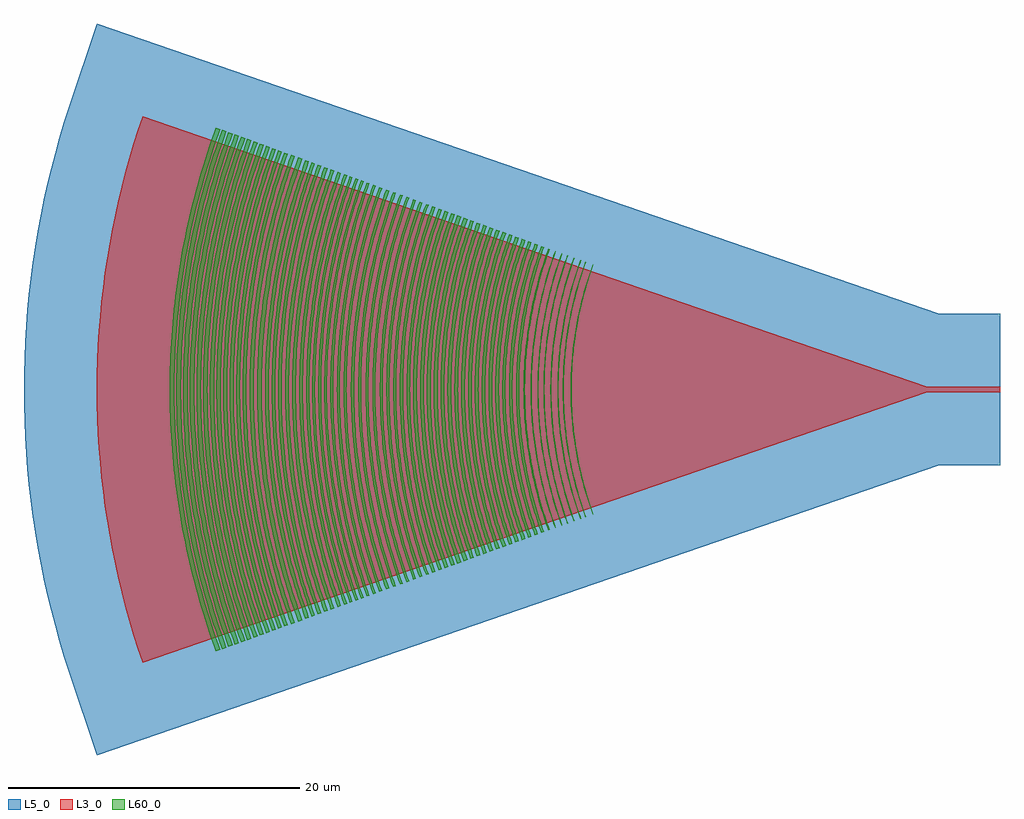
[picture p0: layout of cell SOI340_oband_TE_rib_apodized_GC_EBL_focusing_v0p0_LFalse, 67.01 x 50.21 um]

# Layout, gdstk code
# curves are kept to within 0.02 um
import gdstk
lib = gdstk.Library(unit=1e-6, precision=1e-09)
def P(c, l, *ps):  # polygons
    for p in ps: c.add(gdstk.Polygon(p, *l))
L3_0 = (3, 0)
L5_0 = (5, 0)
L60_0 = (60, 0)

soi340_oband_te_rib_apod = lib.new_cell('SOI340_oband_TE_rib_apodized_GC_EBL_focusing_v0p0_LFalse')
P(soi340_oband_te_rib_apod, L3_0, [(-58.872,-18.75),(-59.494,-16.838),(-60.048,-14.906),(-60.534,-12.955),(-61.135,-10.001),(-61.45,-8.015),(-61.791,-5.019),(-61.975,-2.01),(-62.01,0),(-61.975,2.01),(-61.791,5.019),(-61.45,8.015),(-61.135,10.001),(-60.534,12.955),(-60.048,14.906),(-59.494,16.838),(-58.872,18.75),(-5,0.2),(0,0.2),(0,-0.2),(-5,-0.2)])
P(soi340_oband_te_rib_apod, L5_0, [(-61.972,-25.105),(-62.026,-25.079),(-64.276,-18.3),(-65.151,-15.142),(-65.86,-11.944),(-66.401,-8.712),(-66.668,-6.542),(-66.924,-3.275),(-67.01,0),(-66.924,3.275),(-66.668,6.542),(-66.401,8.712),(-65.86,11.944),(-65.151,15.142),(-64.585,17.252),(-63.946,19.344),(-62.026,25.079),(-61.972,25.105),(-4.163,5.2),(0,5.2),(0,-5.2),(-4.163,-5.2)])
P(soi340_oband_te_rib_apod, L60_0, [(-27.967,-8.571),(-28.114,-8.159),(-28.319,-7.536),(-28.509,-6.908),(-28.625,-6.486),(-28.885,-5.424),(-29.019,-4.781),(-29.098,-4.351),(-29.203,-3.704),(-29.293,-3.054),(-29.384,-2.184),(-29.455,-1.093),(-29.479,0),(-29.455,1.093),(-29.384,2.184),(-29.293,3.054),(-29.203,3.704),(-29.098,4.351),(-29.019,4.781),(-28.885,5.424),(-28.625,6.486),(-28.509,6.908),(-28.319,7.536),(-28.114,8.159),(-27.967,8.571),(-27.911,8.551),(-28.127,7.933),(-28.327,7.309),(-28.51,6.681),(-28.676,6.048),(-28.873,5.198),(-29.076,4.126),(-29.233,3.047),(-29.324,2.179),(-29.395,1.09),(-29.419,0),(-29.395,-1.09),(-29.324,-2.179),(-29.233,-3.047),(-29.076,-4.126),(-28.873,-5.198),(-28.676,-6.048),(-28.51,-6.681),(-28.327,-7.309),(-28.127,-7.933),(-27.911,-8.551)],
  [(-28.475,-8.755),(-28.624,-8.335),(-28.833,-7.698),(-29.027,-7.057),(-29.146,-6.626),(-29.412,-5.541),(-29.629,-4.445),(-29.799,-3.342),(-29.854,-2.898),(-29.921,-2.231),(-29.994,-1.117),(-30.018,0),(-29.994,1.117),(-29.921,2.231),(-29.854,2.898),(-29.799,3.342),(-29.629,4.445),(-29.412,5.541),(-29.146,6.626),(-29.027,7.057),(-28.833,7.698),(-28.624,8.335),(-28.475,8.755),(-28.418,8.735),(-28.638,8.104),(-28.842,7.467),(-29.029,6.825),(-29.199,6.178),(-29.4,5.31),(-29.608,4.215),(-29.74,3.334),(-29.861,2.226),(-29.934,1.114),(-29.958,0),(-29.934,-1.114),(-29.861,-2.226),(-29.74,-3.334),(-29.608,-4.215),(-29.4,-5.31),(-29.199,-6.178),(-29.029,-6.825),(-28.842,-7.467),(-28.638,-8.104),(-28.418,-8.735)],
  [(-28.815,-8.879),(-29.039,-8.238),(-29.178,-7.807),(-29.375,-7.156),(-29.495,-6.72),(-29.765,-5.619),(-29.986,-4.508),(-30.094,-3.837),(-30.187,-3.164),(-30.281,-2.262),(-30.332,-1.585),(-30.355,-1.133),(-30.371,-0.68),(-30.38,0),(-30.371,0.68),(-30.355,1.133),(-30.332,1.585),(-30.281,2.262),(-30.187,3.164),(-30.094,3.837),(-29.986,4.508),(-29.765,5.619),(-29.495,6.72),(-29.375,7.156),(-29.178,7.807),(-29.039,8.238),(-28.815,8.879),(-28.758,8.859),(-28.982,8.219),(-29.188,7.573),(-29.378,6.922),(-29.551,6.266),(-29.8,5.164),(-29.965,4.275),(-30.127,3.157),(-30.201,2.483),(-30.24,2.032),(-30.285,1.356),(-30.304,0.904),(-30.32,0),(-30.304,-0.904),(-30.285,-1.356),(-30.24,-2.032),(-30.201,-2.483),(-30.127,-3.157),(-29.965,-4.275),(-29.8,-5.164),(-29.551,-6.266),(-29.378,-6.922),(-29.188,-7.573),(-28.982,-8.219),(-28.758,-8.859)],
  [(-29.268,-9.044),(-29.423,-8.61),(-29.639,-7.952),(-29.839,-7.289),(-29.962,-6.845),(-30.237,-5.724),(-30.461,-4.592),(-30.572,-3.909),(-30.636,-3.452),(-30.693,-2.994),(-30.763,-2.305),(-30.814,-1.615),(-30.838,-1.154),(-30.854,-0.693),(-30.863,0),(-30.854,0.693),(-30.838,1.154),(-30.814,1.615),(-30.763,2.305),(-30.693,2.994),(-30.636,3.452),(-30.572,3.909),(-30.461,4.592),(-30.237,5.724),(-29.962,6.845),(-29.839,7.289),(-29.639,7.952),(-29.423,8.61),(-29.268,9.044),(-29.212,9.024),(-29.44,8.372),(-29.65,7.714),(-29.843,7.051),(-30.019,6.383),(-30.226,5.486),(-30.361,4.808),(-30.441,4.355),(-30.577,3.444),(-30.703,2.3),(-30.754,1.611),(-30.778,1.151),(-30.794,0.691),(-30.803,0),(-30.794,-0.691),(-30.778,-1.151),(-30.754,-1.611),(-30.703,-2.3),(-30.577,-3.444),(-30.441,-4.355),(-30.361,-4.808),(-30.226,-5.486),(-30.019,-6.383),(-29.843,-7.051),(-29.65,-7.714),(-29.44,-8.372),(-29.212,-9.024)],
  [(-29.713,-9.206),(-29.871,-8.764),(-30.091,-8.094),(-30.295,-7.42),(-30.42,-6.967),(-30.699,-5.826),(-30.843,-5.136),(-30.928,-4.675),(-31.041,-3.979),(-31.137,-3.28),(-31.235,-2.346),(-31.272,-1.878),(-31.311,-1.175),(-31.328,-0.705),(-31.337,0),(-31.328,0.705),(-31.311,1.175),(-31.272,1.878),(-31.235,2.346),(-31.137,3.28),(-31.041,3.979),(-30.928,4.675),(-30.843,5.136),(-30.699,5.826),(-30.42,6.967),(-30.295,7.42),(-30.091,8.094),(-29.871,8.764),(-29.713,9.206),(-29.657,9.186),(-29.889,8.522),(-30.103,7.853),(-30.3,7.177),(-30.479,6.498),(-30.589,6.042),(-30.738,5.355),(-30.909,4.433),(-31.016,3.738),(-31.077,3.273),(-31.175,2.341),(-31.212,1.874),(-31.251,1.172),(-31.268,0.703),(-31.277,0),(-31.268,-0.703),(-31.251,-1.172),(-31.212,-1.874),(-31.175,-2.341),(-31.077,-3.273),(-31.016,-3.738),(-30.909,-4.433),(-30.738,-5.355),(-30.589,-6.042),(-30.479,-6.498),(-30.3,-7.177),(-30.103,-7.853),(-29.889,-8.522),(-29.657,-9.186)],
  [(-30.101,-9.347),(-30.261,-8.899),(-30.485,-8.219),(-30.692,-7.534),(-30.819,-7.073),(-31.103,-5.916),(-31.202,-5.449),(-31.335,-4.746),(-31.516,-3.568),(-31.601,-2.857),(-31.646,-2.382),(-31.684,-1.906),(-31.724,-1.193),(-31.741,-0.716),(-31.75,0),(-31.741,0.716),(-31.724,1.193),(-31.684,1.906),(-31.646,2.382),(-31.601,2.857),(-31.516,3.568),(-31.335,4.746),(-31.202,5.449),(-31.103,5.916),(-30.819,7.073),(-30.692,7.534),(-30.485,8.219),(-30.261,8.899),(-30.101,9.347),(-30.045,9.327),(-30.281,8.653),(-30.498,7.973),(-30.698,7.288),(-30.88,6.597),(-31.044,5.903),(-31.143,5.437),(-31.316,4.501),(-31.425,3.795),(-31.487,3.323),(-31.541,2.851),(-31.606,2.14),(-31.664,1.19),(-31.681,0.714),(-31.69,0),(-31.681,-0.714),(-31.664,-1.19),(-31.606,-2.14),(-31.541,-2.851),(-31.487,-3.323),(-31.425,-3.795),(-31.316,-4.501),(-31.143,-5.437),(-31.044,-5.903),(-30.88,-6.597),(-30.698,-7.288),(-30.498,-7.973),(-30.281,-8.653),(-30.045,-9.327)],
  [(-30.543,-9.508),(-30.706,-9.051),(-30.933,-8.36),(-31.076,-7.896),(-31.273,-7.196),(-31.452,-6.49),(-31.561,-6.017),(-31.662,-5.543),(-31.798,-4.828),(-31.982,-3.629),(-32.042,-3.147),(-32.114,-2.423),(-32.168,-1.698),(-32.194,-1.213),(-32.216,-0.485),(-32.22,0),(-32.216,0.485),(-32.194,1.213),(-32.168,1.698),(-32.114,2.423),(-32.042,3.147),(-31.982,3.629),(-31.798,4.828),(-31.662,5.543),(-31.561,6.017),(-31.452,6.49),(-31.273,7.196),(-31.076,7.896),(-30.933,8.36),(-30.706,9.051),(-30.543,9.508),(-30.487,9.488),(-30.649,9.032),(-30.948,8.111),(-31.151,7.413),(-31.336,6.711),(-31.554,5.768),(-31.78,4.579),(-31.923,3.621),(-31.982,3.14),(-32.054,2.418),(-32.108,1.694),(-32.134,1.21),(-32.156,0.484),(-32.16,0),(-32.156,-0.484),(-32.134,-1.21),(-32.074,-2.177),(-32.008,-2.9),(-31.953,-3.381),(-31.89,-3.861),(-31.78,-4.579),(-31.554,-5.768),(-31.336,-6.711),(-31.151,-7.413),(-30.948,-8.111),(-30.649,-9.032),(-30.487,-9.488)],
  [(-31.01,-9.677),(-31.406,-8.509),(-31.752,-7.323),(-32.046,-6.125),(-32.286,-4.914),(-32.474,-3.693),(-32.609,-2.466),(-32.689,-1.235),(-32.716,0),(-32.689,1.235),(-32.609,2.466),(-32.474,3.693),(-32.286,4.914),(-32.046,6.125),(-31.752,7.323),(-31.406,8.509),(-31.01,9.677),(-30.914,9.643),(-31.382,8.243),(-31.716,7.059),(-31.998,5.862),(-32.227,4.654),(-32.373,3.68),(-32.507,2.457),(-32.587,1.23),(-32.614,0),(-32.587,-1.23),(-32.507,-2.457),(-32.373,-3.68),(-32.227,-4.654),(-31.998,-5.862),(-31.716,-7.059),(-31.382,-8.243),(-30.914,-9.643)],
  [(-31.486,-9.851),(-31.89,-8.661),(-32.241,-7.455),(-32.54,-6.234),(-32.786,-5.002),(-32.976,-3.76),(-33.113,-2.511),(-33.196,-1.257),(-33.223,0),(-33.196,1.257),(-33.113,2.511),(-32.976,3.76),(-32.786,5.002),(-32.54,6.234),(-32.241,7.455),(-31.89,8.661),(-31.486,9.851),(-31.294,9.782),(-31.769,8.362),(-32.108,7.161),(-32.445,5.702),(-32.667,4.474),(-32.806,3.485),(-32.931,2.244),(-33.002,0.998),(-33.019,0),(-33.002,-0.998),(-32.931,-2.244),(-32.806,-3.485),(-32.667,-4.474),(-32.445,-5.702),(-32.108,-7.161),(-31.769,-8.362),(-31.294,-9.782)],
  [(-31.936,-10.013),(-32.346,-8.805),(-32.703,-7.579),(-33.007,-6.337),(-33.257,-5.085),(-33.45,-3.822),(-33.589,-2.552),(-33.673,-1.277),(-33.701,0),(-33.673,1.277),(-33.589,2.552),(-33.45,3.822),(-33.257,5.085),(-33.007,6.337),(-32.703,7.579),(-32.346,8.805),(-31.936,10.013),(-31.725,9.938),(-32.207,8.496),(-32.614,7.03),(-32.894,5.793),(-33.158,4.295),(-33.318,3.037),(-33.406,2.027),(-33.477,0),(-33.406,-2.027),(-33.318,-3.037),(-33.158,-4.295),(-32.894,-5.793),(-32.614,-7.03),(-32.207,-8.496),(-31.725,-9.938)],
  [(-32.374,-10.173),(-32.79,-8.946),(-33.153,-7.699),(-33.462,-6.438),(-33.715,-5.165),(-33.912,-3.883),(-34.054,-2.592),(-34.139,-1.297),(-34.167,0),(-34.139,1.297),(-34.054,2.592),(-33.912,3.883),(-33.715,5.165),(-33.462,6.438),(-33.153,7.699),(-32.79,8.946),(-32.374,10.173),(-32.177,10.103),(-32.667,8.636),(-33.081,7.146),(-33.365,5.889),(-33.634,4.366),(-33.867,2.318),(-33.93,1.288),(-33.958,0),(-33.93,-1.288),(-33.867,-2.318),(-33.634,-4.366),(-33.365,-5.889),(-33.081,-7.146),(-32.667,-8.636),(-32.177,-10.103)],
  [(-32.827,-10.338),(-33.25,-9.09),(-33.619,-7.824),(-33.989,-6.286),(-34.19,-5.249),(-34.39,-3.946),(-34.534,-2.635),(-34.62,-1.319),(-34.649,0),(-34.62,1.319),(-34.534,2.635),(-34.39,3.946),(-34.19,5.249),(-33.989,6.286),(-33.619,7.824),(-33.25,9.09),(-32.827,10.338),(-32.593,10.254),(-33.091,8.766),(-33.446,7.507),(-33.799,5.977),(-34.072,4.432),(-34.309,2.352),(-34.383,1.046),(-34.401,0),(-34.383,-1.046),(-34.309,-2.352),(-34.072,-4.432),(-33.799,-5.977),(-33.446,-7.507),(-33.091,-8.766),(-32.593,-10.254)],
  [(-33.267,-10.498),(-33.697,-9.232),(-34.072,-7.945),(-34.39,-6.644),(-34.651,-5.331),(-34.856,-4.007),(-35.001,-2.675),(-35.089,-1.339),(-35.118,0),(-35.089,1.339),(-35.001,2.675),(-34.856,4.007),(-34.651,5.331),(-34.39,6.644),(-34.072,7.945),(-33.697,9.232),(-33.267,10.498),(-33.027,10.412),(-33.533,8.901),(-33.959,7.365),(-34.304,5.809),(-34.529,4.5),(-34.696,3.182),(-34.789,2.124),(-34.863,0),(-34.789,-2.124),(-34.696,-3.182),(-34.529,-4.5),(-34.304,-5.809),(-33.959,-7.365),(-33.533,-8.901),(-33.027,-10.412)],
  [(-33.698,-10.657),(-34.135,-9.369),(-34.515,-8.064),(-34.838,-6.744),(-35.103,-5.411),(-35.31,-4.068),(-35.458,-2.716),(-35.548,-1.359),(-35.577,0),(-35.548,1.359),(-35.458,2.716),(-35.31,4.068),(-35.103,5.411),(-34.838,6.744),(-34.515,8.064),(-34.135,9.369),(-33.698,10.657),(-33.472,10.575),(-33.986,9.04),(-34.352,7.741),(-34.716,6.164),(-34.956,4.837),(-35.107,3.768),(-35.242,2.426),(-35.308,1.349),(-35.337,0),(-35.308,-1.349),(-35.242,-2.426),(-35.107,-3.768),(-34.956,-4.837),(-34.716,-6.164),(-34.352,-7.741),(-33.986,-9.04),(-33.472,-10.575)],
  [(-34.149,-10.82),(-34.592,-9.514),(-34.979,-8.189),(-35.307,-6.847),(-35.624,-5.222),(-35.821,-3.856),(-35.937,-2.758),(-36.027,-1.38),(-36.057,0),(-36.027,1.38),(-35.937,2.758),(-35.821,3.856),(-35.624,5.222),(-35.307,6.847),(-34.979,8.189),(-34.592,9.514),(-34.149,10.82),(-33.913,10.735),(-34.435,9.177),(-34.806,7.859),(-35.176,6.258),(-35.42,4.91),(-35.572,3.825),(-35.709,2.463),(-35.787,1.095),(-35.806,0),(-35.787,-1.095),(-35.709,-2.463),(-35.572,-3.825),(-35.42,-4.91),(-35.176,-6.258),(-34.806,-7.859),(-34.435,-9.177),(-33.913,-10.735)],
  [(-34.582,-10.977),(-35.032,-9.652),(-35.424,-8.307),(-35.756,-6.947),(-36.029,-5.573),(-36.242,-4.19),(-36.395,-2.797),(-36.487,-1.4),(-36.517,0),(-36.487,1.4),(-36.395,2.797),(-36.242,4.19),(-36.029,5.573),(-35.756,6.947),(-35.424,8.307),(-35.032,9.652),(-34.582,10.977),(-34.352,10.895),(-34.799,9.579),(-35.258,7.976),(-35.634,6.351),(-35.881,4.983),(-36.036,3.882),(-36.175,2.499),(-36.254,1.112),(-36.273,0),(-36.254,-1.112),(-36.175,-2.499),(-36.036,-3.882),(-35.881,-4.983),(-35.634,-6.351),(-35.258,-7.976),(-34.799,-9.579),(-34.352,-10.895)],
  [(-35.033,-11.141),(-35.489,-9.796),(-35.887,-8.432),(-36.225,-7.051),(-36.502,-5.657),(-36.719,-4.252),(-36.873,-2.84),(-36.966,-1.421),(-36.997,0),(-36.966,1.421),(-36.873,2.84),(-36.719,4.252),(-36.502,5.657),(-36.225,7.051),(-35.887,8.432),(-35.489,9.796),(-35.033,11.141),(-34.788,11.053),(-35.325,9.449),(-35.708,8.092),(-36.088,6.443),(-36.382,4.777),(-36.56,3.378),(-36.658,2.254),(-36.737,0),(-36.658,-2.254),(-36.56,-3.378),(-36.382,-4.777),(-36.088,-6.443),(-35.708,-8.092),(-35.325,-9.449),(-34.788,-11.053)],
  [(-35.465,-11.299),(-35.928,-9.934),(-36.332,-8.551),(-36.674,-7.151),(-36.955,-5.737),(-37.174,-4.312),(-37.331,-2.879),(-37.426,-1.441),(-37.457,0),(-37.426,1.441),(-37.331,2.879),(-37.174,4.312),(-36.955,5.737),(-36.674,7.151),(-36.332,8.551),(-35.928,9.934),(-35.465,11.299),(-35.235,11.216),(-35.78,9.588),(-36.239,7.934),(-36.555,6.538),(-36.853,4.847),(-37.112,2.573),(-37.182,1.43),(-37.213,0),(-37.182,-1.43),(-37.112,-2.573),(-36.853,-4.847),(-36.555,-6.538),(-36.239,-7.934),(-35.78,-9.588),(-35.235,-11.216)],
  [(-35.916,-11.463),(-36.386,-10.079),(-36.795,-8.676),(-37.143,-7.254),(-37.428,-5.82),(-37.65,-4.375),(-37.809,-2.921),(-37.905,-1.463),(-37.937,0),(-37.905,1.463),(-37.809,2.921),(-37.65,4.375),(-37.428,5.82),(-37.143,7.254),(-36.795,8.676),(-36.386,10.079),(-35.916,11.463),(-35.671,11.375),(-36.138,10.001),(-36.618,8.327),(-36.95,6.915),(-37.268,5.203),(-37.463,3.765),(-37.574,2.609),(-37.657,1.161),(-37.677,0),(-37.657,-1.161),(-37.574,-2.609),(-37.463,-3.765),(-37.268,-5.203),(-36.95,-6.915),(-36.618,-8.327),(-36.138,-10.001),(-35.671,-11.375)],
  [(-36.357,-11.622),(-36.833,-10.22),(-37.248,-8.797),(-37.6,-7.356),(-37.89,-5.902),(-38.115,-4.436),(-38.277,-2.962),(-38.374,-1.482),(-38.406,0),(-38.374,1.482),(-38.277,2.962),(-38.115,4.436),(-37.89,5.902),(-37.6,7.356),(-37.248,8.797),(-36.833,10.22),(-36.357,11.622),(-36.118,11.537),(-36.591,10.144),(-37.078,8.446),(-37.475,6.725),(-37.737,5.277),(-37.901,4.111),(-38.048,2.647),(-38.12,1.471),(-38.152,0),(-38.12,-1.471),(-38.048,-2.647),(-37.901,-4.111),(-37.737,-5.277),(-37.475,-6.725),(-37.078,-8.446),(-36.591,-10.144),(-36.118,-11.537)],
  [(-36.81,-11.787),(-37.292,-10.366),(-37.714,-8.921),(-38.071,-7.461),(-38.364,-5.985),(-38.593,-4.499),(-38.757,-3.005),(-38.855,-1.504),(-38.888,0),(-38.855,1.504),(-38.757,3.005),(-38.593,4.499),(-38.364,5.985),(-38.071,7.461),(-37.714,8.921),(-37.292,10.366),(-36.81,11.787),(-36.555,11.696),(-37.123,9.999),(-37.528,8.562),(-37.87,7.11),(-38.196,5.35),(-38.362,4.168),(-38.512,2.683),(-38.596,1.193),(-38.617,0),(-38.596,-1.193),(-38.512,-2.683),(-38.362,-4.168),(-38.196,-5.35),(-37.87,-7.11),(-37.528,-8.562),(-37.123,-9.999),(-36.555,-11.696)],
  [(-37.251,-11.948),(-37.74,-10.506),(-38.167,-9.043),(-38.529,-7.562),(-38.826,-6.067),(-39.058,-4.56),(-39.224,-3.045),(-39.324,-1.524),(-39.357,0),(-39.324,1.524),(-39.224,3.045),(-39.058,4.56),(-38.826,6.067),(-38.529,7.562),(-38.167,9.043),(-37.74,10.506),(-37.251,11.948),(-37.002,11.859),(-37.578,10.138),(-37.989,8.682),(-38.397,6.913),(-38.666,5.424),(-38.835,4.226),(-38.986,2.72),(-39.072,1.21),(-39.093,0),(-39.072,-1.21),(-38.986,-2.72),(-38.835,-4.226),(-38.666,-5.424),(-38.397,-6.913),(-37.989,-8.682),(-37.578,-10.138),(-37.002,-11.859)],
  [(-37.683,-12.106),(-38.179,-10.645),(-38.611,-9.162),(-38.978,-7.662),(-39.279,-6.147),(-39.514,-4.621),(-39.682,-3.086),(-39.784,-1.544),(-39.817,0),(-39.784,1.544),(-39.682,3.086),(-39.514,4.621),(-39.279,6.147),(-38.978,7.662),(-38.611,9.162),(-38.179,10.645),(-37.683,12.106),(-37.44,12.019),(-38.024,10.274),(-38.44,8.798),(-38.854,7.006),(-39.173,5.194),(-39.333,3.978),(-39.451,2.757),(-39.526,1.533),(-39.559,0),(-39.526,-1.533),(-39.451,-2.757),(-39.333,-3.978),(-39.173,-5.194),(-38.854,-7.006),(-38.44,-8.798),(-38.024,-10.274),(-37.44,-12.019)],
  [(-38.136,-12.271),(-38.639,-10.79),(-39.077,-9.287),(-39.45,-7.766),(-39.755,-6.231),(-39.993,-4.684),(-40.163,-3.127),(-40.266,-1.565),(-40.3,0),(-40.266,1.565),(-40.163,3.127),(-39.993,4.684),(-39.755,6.231),(-39.45,7.766),(-39.077,9.287),(-38.639,10.79),(-38.136,12.271),(-37.889,12.182),(-38.481,10.414),(-38.979,8.617),(-39.383,6.796),(-39.646,5.265),(-39.808,4.032),(-39.927,2.795),(-40.003,1.554),(-40.037,0),(-40.003,-1.554),(-39.927,-2.795),(-39.808,-4.032),(-39.646,-5.265),(-39.383,-6.796),(-38.979,-8.617),(-38.481,-10.414),(-37.889,-12.182)],
  [(-38.545,-12.42),(-39.054,-10.92),(-39.496,-9.399),(-39.874,-7.86),(-40.183,-6.306),(-40.423,-4.74),(-40.596,-3.165),(-40.7,-1.584),(-40.734,0),(-40.7,1.584),(-40.596,3.165),(-40.423,4.74),(-40.183,6.306),(-39.874,7.86),(-39.496,9.399),(-39.054,10.92),(-38.545,12.42),(-38.333,12.344),(-38.839,10.852),(-39.359,9.036),(-39.72,7.504),(-40.065,5.646),(-40.277,4.086),(-40.398,2.832),(-40.475,1.574),(-40.509,0),(-40.475,-1.574),(-40.398,-2.832),(-40.277,-4.086),(-40.065,-5.646),(-39.72,-7.504),(-39.359,-9.036),(-38.839,-10.852),(-38.333,-12.344)],
  [(-38.99,-12.581),(-39.505,-11.063),(-39.955,-9.522),(-40.336,-7.963),(-40.649,-6.388),(-40.893,-4.802),(-41.068,-3.206),(-41.173,-1.605),(-41.208,0),(-41.173,1.605),(-41.068,3.206),(-40.893,4.802),(-40.649,6.388),(-40.336,7.963),(-39.955,9.522),(-39.505,11.063),(-38.99,12.581),(-38.783,12.507),(-39.39,10.692),(-39.823,9.156),(-40.254,7.291),(-40.538,5.721),(-40.753,4.14),(-40.875,2.869),(-40.966,1.276),(-40.988,0),(-40.966,-1.276),(-40.875,-2.869),(-40.753,-4.14),(-40.538,-5.721),(-40.254,-7.291),(-39.823,-9.156),(-39.39,-10.692),(-38.783,-12.507)],
  [(-39.405,-12.733),(-39.927,-11.196),(-40.382,-9.636),(-40.768,-8.058),(-41.084,-6.465),(-41.331,-4.86),(-41.508,-3.245),(-41.615,-1.624),(-41.65,0),(-41.615,1.624),(-41.508,3.245),(-41.331,4.86),(-41.084,6.465),(-40.768,8.058),(-40.382,9.636),(-39.927,11.196),(-39.405,12.733),(-39.234,12.672),(-39.849,10.832),(-40.288,9.276),(-40.724,7.386),(-41.012,5.796),(-41.192,4.515),(-41.354,2.907),(-41.433,1.616),(-41.468,0),(-41.433,-1.616),(-41.354,-2.907),(-41.23,-4.194),(-41.012,-5.796),(-40.724,-7.386),(-40.288,-9.276),(-39.849,-10.832),(-39.234,-12.672)],
  [(-39.852,-12.895),(-40.381,-11.339),(-40.841,-9.759),(-41.232,-8.161),(-41.553,-6.548),(-41.803,-4.922),(-41.982,-3.286),(-42.09,-1.645),(-42.126,0),(-42.09,1.645),(-41.982,3.286),(-41.803,4.922),(-41.553,6.548),(-41.232,8.161),(-40.841,9.759),(-40.381,11.339),(-39.852,12.895),(-39.665,12.828),(-40.191,11.279),(-40.732,9.391),(-41.174,7.478),(-41.465,5.868),(-41.686,4.246),(-41.811,2.943),(-41.904,1.309),(-41.927,0),(-41.904,-1.309),(-41.811,-2.943),(-41.686,-4.246),(-41.465,-5.868),(-41.174,-7.478),(-40.732,-9.391),(-40.191,-11.279),(-39.665,-12.828)],
  [(-40.273,-13.049),(-40.807,-11.474),(-41.273,-9.875),(-41.669,-8.258),(-41.993,-6.625),(-42.246,-4.98),(-42.427,-3.326),(-42.537,-1.664),(-42.573,0),(-42.537,1.664),(-42.427,3.326),(-42.246,4.98),(-41.993,6.625),(-41.669,8.258),(-41.273,9.875),(-40.807,11.474),(-40.273,13.049),(-40.105,12.989),(-40.637,11.42),(-41.101,9.829),(-41.495,8.22),(-41.874,6.268),(-42.112,4.628),(-42.278,2.98),(-42.372,1.325),(-42.395,0),(-42.372,-1.325),(-42.278,-2.98),(-42.112,-4.628),(-41.874,-6.268),(-41.495,-8.22),(-41.101,-9.829),(-40.637,-11.42),(-40.105,-12.989)],
  [(-40.748,-13.222),(-41.289,-11.625),(-41.762,-10.006),(-42.163,-8.368),(-42.492,-6.713),(-42.748,-5.045),(-42.932,-3.369),(-43.042,-1.686),(-43.079,0),(-43.042,1.686),(-42.932,3.369),(-42.748,5.045),(-42.492,6.713),(-42.163,8.368),(-41.762,10.006),(-41.289,11.625),(-40.748,13.222),(-40.57,13.158),(-41.209,11.248),(-41.665,9.632),(-42.118,7.67),(-42.416,6.018),(-42.643,4.355),(-42.771,3.018),(-42.867,1.343),(-42.89,0),(-42.867,-1.343),(-42.771,-3.018),(-42.643,-4.355),(-42.416,-6.018),(-42.118,-7.67),(-41.665,-9.632),(-41.209,-11.248),(-40.57,-13.158)],
  [(-41.193,-13.384),(-41.741,-11.767),(-42.22,-10.128),(-42.626,-8.47),(-42.958,-6.796),(-43.218,-5.108),(-43.404,-3.41),(-43.516,-1.707),(-43.553,0),(-43.516,1.707),(-43.404,3.41),(-43.218,5.108),(-42.958,6.796),(-42.626,8.47),(-42.22,10.128),(-41.741,11.767),(-41.193,13.384),(-41.016,13.32),(-41.663,11.387),(-42.124,9.751),(-42.514,8.097),(-42.886,6.092),(-43.115,4.409),(-43.245,3.056),(-43.328,1.699),(-43.365,0),(-43.328,-1.699),(-43.245,-3.056),(-43.115,-4.409),(-42.886,-6.092),(-42.514,-8.097),(-42.124,-9.751),(-41.663,-11.387),(-41.016,-13.32)],
  [(-41.664,-13.555),(-42.219,-11.918),(-42.704,-10.258),(-43.115,-8.578),(-43.452,-6.883),(-43.715,-5.173),(-43.903,-3.454),(-44.016,-1.729),(-44.054,0),(-44.016,1.729),(-43.903,3.454),(-43.715,5.173),(-43.452,6.883),(-43.115,8.578),(-42.704,10.258),(-42.219,11.918),(-41.664,13.555),(-41.488,13.492),(-42.041,11.862),(-42.523,10.21),(-43.005,8.202),(-43.326,6.511),(-43.53,5.149),(-43.717,3.438),(-43.829,1.721),(-43.867,0),(-43.829,-1.721),(-43.717,-3.438),(-43.53,-5.149),(-43.326,-6.511),(-43.005,-8.202),(-42.523,-10.21),(-42.041,-11.862),(-41.488,-13.492)],
  [(-42.141,-13.729),(-42.704,-12.072),(-43.194,-10.39),(-43.611,-8.689),(-43.952,-6.97),(-44.218,-5.24),(-44.409,-3.498),(-44.524,-1.751),(-44.562,0),(-44.524,1.751),(-44.409,3.498),(-44.218,5.24),(-43.952,6.97),(-43.611,8.689),(-43.194,10.39),(-42.704,12.072),(-42.141,13.729),(-41.933,13.654),(-42.597,11.672),(-43.069,9.996),(-43.54,7.959),(-43.849,6.245),(-44.043,4.865),(-44.218,3.132),(-44.317,1.393),(-44.341,0),(-44.317,-1.393),(-44.218,-3.132),(-44.043,-4.865),(-43.849,-6.245),(-43.54,-7.959),(-43.069,-9.996),(-42.597,-11.672),(-41.933,-13.654)],
  [(-42.608,-13.898),(-43.177,-12.22),(-43.674,-10.518),(-44.094,-8.796),(-44.44,-7.057),(-44.71,-5.305),(-44.903,-3.541),(-45.02,-1.772),(-45.058,0),(-45.02,1.772),(-44.903,3.541),(-44.71,5.305),(-44.44,7.057),(-44.094,8.796),(-43.674,10.518),(-43.177,12.22),(-42.608,13.898),(-42.429,13.834),(-43.101,11.826),(-43.58,10.128),(-44.056,8.064),(-44.37,6.328),(-44.608,4.579),(-44.743,3.174),(-44.83,1.764),(-44.868,0),(-44.83,-1.764),(-44.743,-3.174),(-44.608,-4.579),(-44.37,-6.328),(-44.056,-8.064),(-43.58,-10.128),(-43.101,-11.826),(-42.429,-13.834)],
  [(-43.043,-14.056),(-43.619,-12.359),(-44.12,-10.638),(-44.546,-8.896),(-44.896,-7.137),(-45.169,-5.365),(-45.364,-3.583),(-45.482,-1.793),(-45.521,0),(-45.482,1.793),(-45.364,3.583),(-45.169,5.365),(-44.896,7.137),(-44.546,8.896),(-44.12,10.638),(-43.619,12.359),(-43.043,14.056),(-42.863,13.992),(-43.437,12.302),(-43.936,10.589),(-44.436,8.506),(-44.769,6.752),(-45.025,4.986),(-45.204,3.21),(-45.291,1.785),(-45.33,0),(-45.291,-1.785),(-45.204,-3.21),(-45.025,-4.986),(-44.769,-6.752),(-44.436,-8.506),(-43.936,-10.589),(-43.437,-12.302),(-42.863,-13.992)],
  [(-43.468,-14.212),(-44.05,-12.496),(-44.558,-10.755),(-44.989,-8.994),(-45.343,-7.216),(-45.618,-5.424),(-45.816,-3.621),(-45.935,-1.812),(-45.974,0),(-45.935,1.812),(-45.816,3.621),(-45.618,5.424),(-45.343,7.216),(-44.989,8.994),(-44.558,10.755),(-44.05,12.496),(-43.468,14.212),(-43.29,14.148),(-43.978,12.094),(-44.467,10.357),(-44.881,8.6),(-45.218,6.827),(-45.477,5.041),(-45.628,3.605),(-45.746,1.804),(-45.785,0),(-45.746,-1.804),(-45.628,-3.605),(-45.477,-5.041),(-45.218,-6.827),(-44.881,-8.6),(-44.467,-10.357),(-43.978,-12.094),(-43.29,-14.148)],
  [(-43.854,-14.353),(-44.442,-12.62),(-44.955,-10.862),(-45.39,-9.083),(-45.747,-7.288),(-46.026,-5.477),(-46.225,-3.657),(-46.345,-1.83),(-46.385,0),(-46.345,1.83),(-46.225,3.657),(-46.026,5.477),(-45.747,7.288),(-45.39,9.083),(-44.955,10.862),(-44.442,12.62),(-43.854,14.353),(-43.699,14.297),(-44.285,12.57),(-44.889,10.466),(-45.307,8.691),(-45.647,6.899),(-45.862,5.456),(-46.061,3.643),(-46.18,1.823),(-46.22,0),(-46.18,-1.823),(-46.061,-3.643),(-45.862,-5.456),(-45.647,-6.899),(-45.307,-8.691),(-44.889,-10.466),(-44.285,-12.57),(-43.699,-14.297)],
  [(-44.248,-14.496),(-44.841,-12.745),(-45.358,-10.97),(-45.798,-9.173),(-46.159,-7.36),(-46.44,-5.532),(-46.641,-3.694),(-46.763,-1.848),(-46.803,0),(-46.763,1.848),(-46.641,3.694),(-46.44,5.532),(-46.159,7.36),(-45.798,9.173),(-45.358,10.97),(-44.841,12.745),(-44.248,14.496),(-44.067,14.431),(-44.767,12.336),(-45.267,10.564),(-45.764,8.412),(-46.092,6.6),(-46.297,5.142),(-46.481,3.31),(-46.571,1.84),(-46.611,0),(-46.571,-1.84),(-46.481,-3.31),(-46.297,-5.142),(-46.092,-6.6),(-45.764,-8.412),(-45.267,-10.564),(-44.767,-12.336),(-44.067,-14.431)],
  [(-44.631,-14.635),(-45.232,-12.869),(-45.754,-11.076),(-46.198,-9.263),(-46.562,-7.431),(-46.845,-5.585),(-47.049,-3.73),(-47.171,-1.867),(-47.212,0),(-47.171,1.867),(-47.049,3.73),(-46.845,5.585),(-46.562,7.431),(-46.198,9.263),(-45.754,11.076),(-45.232,12.869),(-44.631,14.635),(-44.464,14.575),(-45.062,12.815),(-45.677,10.67),(-46.103,8.86),(-46.45,7.034),(-46.716,5.193),(-46.903,3.344),(-47.008,1.487),(-47.034,0),(-47.008,-1.487),(-46.903,-3.344),(-46.716,-5.193),(-46.45,-7.034),(-46.103,-8.86),(-45.677,-10.67),(-45.062,-12.815),(-44.464,-14.575)],
  [(-45.022,-14.778),(-45.627,-12.993),(-46.155,-11.183),(-46.603,-9.352),(-46.971,-7.503),(-47.257,-5.639),(-47.462,-3.766),(-47.586,-1.885),(-47.627,0),(-47.586,1.885),(-47.462,3.766),(-47.257,5.639),(-46.971,7.503),(-46.603,9.352),(-46.155,11.183),(-45.627,12.993),(-45.022,14.778),(-44.825,14.707),(-45.428,12.93),(-46.048,10.766),(-46.555,8.573),(-46.889,6.727),(-47.142,4.868),(-47.285,3.374),(-47.392,1.501),(-47.418,0),(-47.392,-1.501),(-47.285,-3.374),(-47.142,-4.868),(-46.889,-6.727),(-46.555,-8.573),(-46.048,-10.766),(-45.428,-12.93),(-44.825,-14.707)],
  [(-45.471,-14.94),(-46.083,-13.137),(-46.617,-11.307),(-47.069,-9.456),(-47.441,-7.586),(-47.731,-5.702),(-47.939,-3.808),(-48.064,-1.906),(-48.105,0),(-48.064,1.906),(-47.939,3.808),(-47.731,5.702),(-47.441,7.586),(-47.069,9.456),(-46.617,11.307),(-46.083,13.137),(-45.471,14.94),(-45.247,14.86),(-45.969,12.703),(-46.483,10.879),(-46.918,9.033),(-47.332,6.797),(-47.588,4.918),(-47.733,3.409),(-47.841,1.516),(-47.867,0),(-47.841,-1.516),(-47.733,-3.409),(-47.588,-4.918),(-47.332,-6.797),(-46.918,-9.033),(-46.483,-10.879),(-45.969,-12.703),(-45.247,-14.86)],
  [(-45.935,-15.108),(-46.554,-13.284),(-47.093,-11.434),(-47.551,-9.562),(-47.927,-7.672),(-48.22,-5.767),(-48.43,-3.851),(-48.556,-1.927),(-48.598,0),(-48.556,1.927),(-48.43,3.851),(-48.22,5.767),(-47.927,7.672),(-47.551,9.562),(-47.093,11.434),(-46.554,13.284),(-45.935,15.108),(-45.701,15.025),(-46.317,13.21),(-46.951,10.999),(-47.39,9.134),(-47.809,6.872),(-48.023,5.354),(-48.215,3.447),(-48.308,1.916),(-48.35,0),(-48.323,-1.533),(-48.215,-3.447),(-48.023,-5.354),(-47.809,-6.872),(-47.39,-9.134),(-46.951,-10.999),(-46.317,-13.21),(-45.701,-15.025)],
  [(-46.388,-15.274),(-47.014,-13.43),(-47.559,-11.559),(-48.022,-9.666),(-48.402,-7.755),(-48.699,-5.829),(-48.911,-3.892),(-49.039,-1.948),(-49.081,0),(-49.039,1.948),(-48.911,3.892),(-48.699,5.829),(-48.402,7.755),(-48.022,9.666),(-47.559,11.559),(-47.014,13.43),(-46.388,15.274),(-46.148,15.188),(-46.886,12.983),(-47.412,11.119),(-47.935,8.853),(-48.279,6.947),(-48.541,5.027),(-48.689,3.484),(-48.784,1.937),(-48.826,0),(-48.784,-1.937),(-48.689,-3.484),(-48.541,-5.027),(-48.279,-6.947),(-47.935,-8.853),(-47.412,-11.119),(-46.886,-12.983),(-46.148,-15.188)],
  [(-46.833,-15.436),(-47.465,-13.573),(-48.016,-11.682),(-48.485,-9.769),(-48.869,-7.838),(-49.168,-5.892),(-49.382,-3.934),(-49.511,-1.969),(-49.554,0),(-49.511,1.969),(-49.382,3.934),(-49.168,5.892),(-48.869,7.838),(-48.485,9.769),(-48.016,11.682),(-47.465,13.573),(-46.833,15.436),(-46.618,15.359),(-47.248,13.504),(-47.896,11.244),(-48.345,9.337),(-48.773,7.025),(-48.991,5.473),(-49.188,3.523),(-49.299,1.567),(-49.326,0),(-49.299,-1.567),(-49.188,-3.523),(-48.991,-5.473),(-48.773,-7.025),(-48.345,-9.337),(-47.896,-11.244),(-47.248,-13.504),(-46.618,-15.359)],
  [(-47.249,-15.588),(-47.888,-13.705),(-48.444,-11.796),(-48.917,-9.865),(-49.305,-7.914),(-49.607,-5.949),(-49.823,-3.973),(-49.954,-1.988),(-49.997,0),(-49.954,1.988),(-49.823,3.973),(-49.607,5.949),(-49.305,7.914),(-48.917,9.865),(-48.444,11.796),(-47.888,13.705),(-47.249,15.588),(-47.035,15.511),(-47.671,13.637),(-48.325,11.355),(-48.86,9.042),(-49.212,7.094),(-49.432,5.527),(-49.63,3.558),(-49.727,1.978),(-49.77,0),(-49.727,-1.978),(-49.63,-3.558),(-49.432,-5.527),(-49.212,-7.094),(-48.86,-9.042),(-48.325,-11.355),(-47.671,-13.637),(-47.035,-15.511)],
  [(-47.687,-15.747),(-48.332,-13.846),(-48.894,-11.917),(-49.372,-9.965),(-49.763,-7.996),(-50.069,-6.01),(-50.288,-4.014),(-50.419,-2.008),(-50.463,0),(-50.419,2.008),(-50.288,4.014),(-50.069,6.01),(-49.763,7.996),(-49.372,9.965),(-48.894,11.917),(-48.332,13.846),(-47.687,15.747),(-47.444,15.66),(-48.086,13.768),(-48.747,11.464),(-49.286,9.128),(-49.641,7.163),(-49.864,5.58),(-50.064,3.592),(-50.177,1.598),(-50.205,0),(-50.177,-1.598),(-50.064,-3.592),(-49.864,-5.58),(-49.641,-7.163),(-49.286,-9.128),(-48.747,-11.464),(-48.086,-13.768),(-47.444,-15.66)],
  [(-48.192,-15.93),(-48.844,-14.007),(-49.412,-12.056),(-49.896,-10.082),(-50.292,-8.089),(-50.601,-6.08),(-50.823,-4.06),(-50.956,-2.031),(-51,0),(-50.956,2.031),(-50.823,4.06),(-50.601,6.08),(-50.292,8.089),(-49.896,10.082),(-49.412,12.056),(-48.844,14.007),(-48.192,15.93),(-47.9,15.826),(-48.668,13.528),(-49.216,11.585),(-49.679,9.62),(-50.12,7.238),(-50.393,5.238),(-50.547,3.63),(-50.662,1.615),(-50.69,0),(-50.662,-1.615),(-50.547,-3.63),(-50.393,-5.238),(-50.12,-7.238),(-49.679,-9.62),(-49.216,-11.585),(-48.668,-13.528),(-47.9,-15.826)],
  [(-48.677,-16.107),(-49.337,-14.162),(-49.912,-12.19),(-50.4,-10.194),(-50.802,-8.179),(-51.114,-6.148),(-51.338,-4.105),(-51.472,-2.054),(-51.517,0),(-51.472,2.054),(-51.338,4.105),(-51.114,6.148),(-50.802,8.179),(-50.4,10.194),(-49.912,12.19),(-49.337,14.162),(-48.677,16.107),(-48.413,16.012),(-49.069,14.078),(-49.745,11.722),(-50.213,9.734),(-50.66,7.324),(-50.887,5.706),(-51.092,3.673),(-51.207,1.634),(-51.236,0),(-51.207,-1.634),(-51.092,-3.673),(-50.887,-5.706),(-50.66,-7.324),(-50.213,-9.734),(-49.745,-11.722),(-49.069,-14.078),(-48.413,-16.012)],
  [(-49.127,-16.271),(-49.794,-14.307),(-50.374,-12.314),(-50.868,-10.297),(-51.273,-8.261),(-51.589,-6.21),(-51.815,-4.147),(-51.951,-2.075),(-51.996,0),(-51.951,2.075),(-51.815,4.147),(-51.589,6.21),(-51.273,8.261),(-50.868,10.297),(-50.374,12.314),(-49.794,14.307),(-49.127,16.271),(-48.892,16.187),(-49.556,14.232),(-50.239,11.85),(-50.712,9.84),(-51.163,7.404),(-51.442,5.358),(-51.6,3.713),(-51.701,2.064),(-51.746,0),(-51.701,-2.064),(-51.6,-3.713),(-51.442,-5.358),(-51.163,-7.404),(-50.712,-9.84),(-50.239,-11.85),(-49.556,-14.232),(-48.892,-16.187)],
  [(-49.539,-16.422),(-50.212,-14.439),(-50.798,-12.428),(-51.297,-10.392),(-51.705,-8.337),(-52.024,-6.268),(-52.252,-4.185),(-52.39,-2.095),(-52.435,0),(-52.39,2.095),(-52.252,4.185),(-52.024,6.268),(-51.705,8.337),(-51.297,10.392),(-50.798,12.428),(-50.212,14.439),(-49.539,16.422),(-49.304,16.337),(-50.098,13.965),(-50.664,11.96),(-51.226,9.523),(-51.597,7.472),(-51.829,5.821),(-52.038,3.748),(-52.14,2.084),(-52.185,0),(-52.14,-2.084),(-52.038,-3.748),(-51.829,-5.821),(-51.597,-7.472),(-51.226,-9.523),(-50.664,-11.96),(-50.098,-13.965),(-49.304,-16.337)],
  [(-49.965,-16.576),(-50.645,-14.575),(-51.237,-12.545),(-51.739,-10.491),(-52.152,-8.416),(-52.474,-6.327),(-52.704,-4.224),(-52.842,-2.115),(-52.888,0),(-52.842,2.115),(-52.704,4.224),(-52.474,6.327),(-52.152,8.416),(-51.739,10.491),(-51.237,12.545),(-50.645,14.575),(-49.965,16.576),(-49.715,16.486),(-50.516,14.093),(-51.087,12.069),(-51.569,10.022),(-52.029,7.541),(-52.263,5.874),(-52.473,3.782),(-52.593,1.682),(-52.622,0),(-52.593,-1.682),(-52.473,-3.782),(-52.263,-5.874),(-52.029,-7.541),(-51.569,-10.022),(-51.087,-12.069),(-50.516,-14.093),(-49.715,-16.486)],
  [(-50.386,-16.729),(-51.071,-14.71),(-51.669,-12.66),(-52.175,-10.587),(-52.592,-8.495),(-52.917,-6.384),(-53.149,-4.263),(-53.289,-2.134),(-53.335,0),(-53.289,2.134),(-53.149,4.263),(-52.917,6.384),(-52.592,8.495),(-52.175,10.587),(-51.669,12.66),(-51.071,14.71),(-50.386,16.729),(-50.128,16.637),(-50.936,14.222),(-51.512,12.179),(-51.998,10.113),(-52.462,7.609),(-52.748,5.506),(-52.911,3.816),(-53.015,2.122),(-53.061,0),(-53.015,-2.122),(-52.911,-3.816),(-52.748,-5.506),(-52.462,-7.609),(-51.998,-10.113),(-51.512,-12.179),(-50.936,-14.222),(-50.128,-16.637)],
  [(-50.818,-16.887),(-51.511,-14.848),(-52.113,-12.78),(-52.625,-10.687),(-53.046,-8.575),(-53.374,-6.445),(-53.608,-4.304),(-53.749,-2.153),(-53.796,0),(-53.749,2.153),(-53.608,4.304),(-53.374,6.445),(-53.046,8.575),(-52.625,10.687),(-52.113,12.78),(-51.511,14.848),(-50.818,16.887),(-50.549,16.79),(-51.238,14.762),(-51.946,12.291),(-52.437,10.207),(-52.906,7.68),(-53.144,5.983),(-53.359,3.852),(-53.48,1.713),(-53.51,0),(-53.48,-1.713),(-53.359,-3.852),(-53.144,-5.983),(-52.906,-7.68),(-52.437,-10.207),(-51.946,-12.291),(-51.365,-14.353),(-50.549,-16.79)],
  [(-51.243,-17.042),(-51.942,-14.984),(-52.55,-12.897),(-53.067,-10.785),(-53.491,-8.653),(-53.822,-6.504),(-54.058,-4.343),(-54.201,-2.174),(-54.248,0),(-54.201,2.174),(-54.058,4.343),(-53.822,6.504),(-53.491,8.653),(-53.067,10.785),(-52.55,12.897),(-51.942,14.984),(-51.243,17.042),(-50.971,16.944),(-51.666,14.897),(-52.381,12.404),(-52.964,9.877),(-53.349,7.75),(-53.641,5.608),(-53.806,3.887),(-53.912,2.161),(-53.959,0),(-53.912,-2.161),(-53.806,-3.887),(-53.641,-5.608),(-53.349,-7.75),(-52.964,-9.877),(-52.381,-12.404),(-51.666,-14.897),(-50.971,-16.944)],
  [(-51.68,-17.2),(-52.384,-15.123),(-52.998,-13.016),(-53.52,-10.886),(-53.947,-8.733),(-54.281,-6.565),(-54.521,-4.383),(-54.664,-2.194),(-54.712,0),(-54.664,2.194),(-54.521,4.383),(-54.281,6.565),(-53.947,8.733),(-53.52,10.886),(-52.998,13.016),(-52.384,15.123),(-51.68,17.2),(-51.398,17.099),(-52.099,15.033),(-52.821,12.517),(-53.321,10.394),(-53.797,7.821),(-54.092,5.659),(-54.259,3.922),(-54.383,1.745),(-54.413,0),(-54.383,-1.745),(-54.259,-3.922),(-54.092,-5.659),(-53.797,-7.821),(-53.321,-10.394),(-52.821,-12.517),(-52.099,-15.033),(-51.398,-17.099)],
  [(-52.102,-17.354),(-52.813,-15.259),(-53.433,-13.134),(-53.959,-10.983),(-54.391,-8.811),(-54.727,-6.623),(-54.969,-4.422),(-55.114,-2.213),(-55.162,0),(-55.114,2.213),(-54.969,4.422),(-54.727,6.623),(-54.391,8.811),(-53.959,10.983),(-53.433,13.134),(-52.813,15.259),(-52.102,17.354),(-51.82,17.253),(-52.658,14.748),(-53.255,12.63),(-53.76,10.488),(-54.241,7.891),(-54.538,5.71),(-54.707,3.958),(-54.814,2.2),(-54.862,0),(-54.814,-2.2),(-54.707,-3.958),(-54.538,-5.71),(-54.241,-7.891),(-53.76,-10.488),(-53.255,-12.63),(-52.658,-14.748),(-51.82,-17.253)],
  [(-52.543,-17.514),(-53.261,-15.4),(-53.886,-13.255),(-54.417,-11.085),(-54.853,-8.893),(-55.193,-6.685),(-55.436,-4.463),(-55.583,-2.234),(-55.631,0),(-55.583,2.234),(-55.436,4.463),(-55.193,6.685),(-54.853,8.893),(-54.417,11.085),(-53.886,13.255),(-53.261,15.4),(-52.543,17.514),(-52.249,17.409),(-53.095,14.882),(-53.698,12.744),(-54.207,10.583),(-54.692,7.963),(-54.94,6.203),(-55.162,3.994),(-55.271,2.22),(-55.319,0),(-55.271,-2.22),(-55.162,-3.994),(-54.94,-6.203),(-54.692,-7.963),(-54.207,-10.583),(-53.698,-12.744),(-53.095,-14.882),(-52.249,-17.409)],
  [(-52.972,-17.67),(-53.696,-15.536),(-54.326,-13.372),(-54.863,-11.183),(-55.302,-8.973),(-55.645,-6.744),(-55.891,-4.503),(-56.038,-2.254),(-56.087,0),(-56.038,2.254),(-55.891,4.503),(-55.645,6.744),(-55.302,8.973),(-54.863,11.183),(-54.326,13.372),(-53.696,15.536),(-52.972,17.67),(-52.676,17.564),(-53.529,15.014),(-54.137,12.858),(-54.651,10.677),(-55.141,8.034),(-55.443,5.813),(-55.615,4.029),(-55.742,1.792),(-55.773,0),(-55.742,-1.792),(-55.615,-4.029),(-55.443,-5.813),(-55.141,-8.034),(-54.651,-10.677),(-54.137,-12.858),(-53.529,-15.014),(-52.676,-17.564)],
  [(-53.413,-17.831),(-54.144,-15.678),(-54.78,-13.495),(-55.321,-11.285),(-55.765,-9.054),(-56.111,-6.805),(-56.359,-4.544),(-56.508,-2.274),(-56.557,0),(-56.508,2.274),(-56.359,4.544),(-56.111,6.805),(-55.765,9.054),(-55.321,11.285),(-54.78,13.495),(-54.144,15.678),(-53.413,17.831),(-53.109,17.722),(-53.836,15.581),(-54.584,12.973),(-55.102,10.773),(-55.596,8.106),(-55.848,6.315),(-56.074,4.065),(-56.185,2.26),(-56.234,0),(-56.185,-2.26),(-56.074,-4.065),(-55.848,-6.315),(-55.596,-8.106),(-55.102,-10.773),(-54.584,-12.973),(-53.836,-15.581),(-53.109,-17.722)],
  [(-53.839,-17.986),(-54.576,-15.814),(-55.218,-13.612),(-55.763,-11.383),(-56.211,-9.132),(-56.56,-6.864),(-56.81,-4.583),(-56.96,-2.294),(-57.01,0),(-56.96,2.294),(-56.81,4.583),(-56.56,6.864),(-56.211,9.132),(-55.763,11.383),(-55.218,13.612),(-54.576,15.814),(-53.839,17.986),(-53.535,17.877),(-54.268,15.717),(-55.022,13.087),(-55.638,10.421),(-56.043,8.177),(-56.351,5.917),(-56.526,4.101),(-56.655,1.824),(-56.687,0),(-56.655,-1.824),(-56.526,-4.101),(-56.351,-5.917),(-56.043,-8.177),(-55.638,-10.421),(-55.022,-13.087),(-54.268,-15.717),(-53.535,-17.877)])

lib.write_gds('SOI340_oband_TE_rib_apodized_GC_EBL_focusing_v0p0_LFalse.gds')
